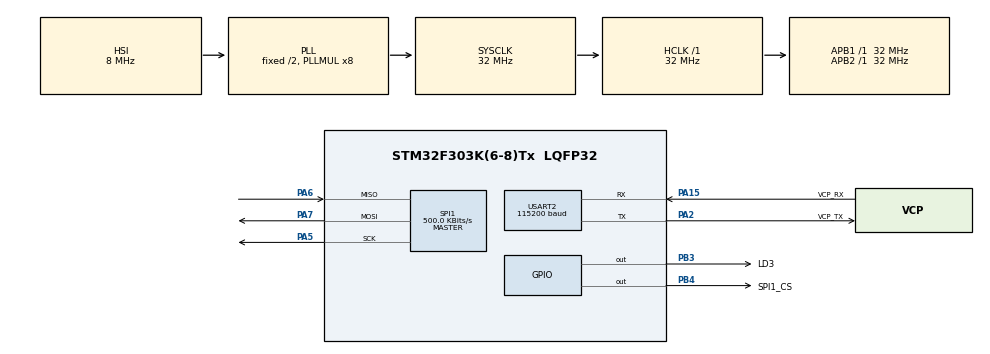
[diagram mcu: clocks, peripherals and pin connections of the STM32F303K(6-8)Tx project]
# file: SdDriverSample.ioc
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Mcu.Family=STM32F3
Mcu.Name=STM32F303K(6-8)Tx
Mcu.Package=LQFP32
NVIC.PriorityGroup=NVIC_PRIORITYGROUP_4
PA13.GPIO_Label=SWDIO
PA13.Mode=Serial_Wire
PA13.Signal=SYS_JTMS-SWDIO
PA14.GPIO_Label=SWCLK
PA14.Mode=Serial_Wire
PA14.Signal=SYS_JTCK-SWCLK
PA15.GPIO_Label=VCP_RX
PA15.Mode=Asynchronous
PA15.Signal=USART2_RX
PA2.GPIO_Label=VCP_TX
PA2.Mode=Asynchronous
PA2.Signal=USART2_TX
PA5.Mode=Full_Duplex_Master
PA5.Signal=SPI1_SCK
PA6.Mode=Full_Duplex_Master
PA6.Signal=SPI1_MISO
PA7.Mode=Full_Duplex_Master
PA7.Signal=SPI1_MOSI
PB3.GPIO_Label=LD3
PB3.PinState=GPIO_PIN_RESET
PB3.Signal=GPIO_Output
PB4.GPIO_Label=SPI1_CS
PB4.PinState=GPIO_PIN_SET
PB4.Signal=GPIO_Output
PF0\ /\ OSC_IN.GPIO_Label=MCO
PF0\ /\ OSC_IN.Mode=HSE-External-Clock-Source
PF0\ /\ OSC_IN.Signal=RCC_OSC_IN
ProjectManager.HeapSize=0x200
ProjectManager.StackSize=0x400
ProjectManager.TargetToolchain=STM32CubeIDE
RCC.AHBFreq_Value=32000000
RCC.APB1Freq_Value=32000000
RCC.APB1TimFreq_Value=32000000
RCC.APB2Freq_Value=32000000
RCC.APB2TimFreq_Value=32000000
RCC.CortexFreq_Value=32000000
RCC.HCLKFreq_Value=32000000
RCC.HSE_VALUE=8000000
RCC.HSI_VALUE=8000000
RCC.PLLMUL=RCC_PLL_MUL8
RCC.SYSCLKFreq_VALUE=32000000
RCC.SYSCLKSourceVirtual=RCC_SYSCLKSOURCE_PLLCLK
SPI1.BaudRatePrescaler=SPI_BAUDRATEPRESCALER_64
SPI1.CRCCalculation=SPI_CRCCALCULATION_DISABLE
SPI1.CalculateBaudRate=500.0 KBits/s
SPI1.DataSize=SPI_DATASIZE_8BIT
SPI1.Direction=SPI_DIRECTION_2LINES
SPI1.Mode=SPI_MODE_MASTER
SPI1.VirtualType=VM_MASTER
USART2.BaudRate=115200
USART2.VirtualMode-Asynchronous=VM_ASYNC
board=NUCLEO-F303K8

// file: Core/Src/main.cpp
/* USER CODE BEGIN Header */
/**
  ******************************************************************************
  * @file           : main.c
  * @brief          : Main program body
  ******************************************************************************
  * @attention
  *
  * <h2><center>&copy; Copyright (c) 2021 STMicroelectronics.
  * All rights reserved.</center></h2>
  *
  * This software component is licensed by ST under BSD 3-Clause license,
  * the "License"; You may not use this file except in compliance with the
  * License. You may obtain a copy of the License at:
  *                        opensource.org/licenses/BSD-3-Clause
  *
  ******************************************************************************
  */
/* USER CODE END Header */
#include "main.h"

/* USER CODE BEGIN Includes */
#include <stdio.h>
#include <stdint.h>
#include <string.h>

#include "SdDriver.hpp"
/* USER CODE END Includes */

SPI_HandleTypeDef hspi1;

UART_HandleTypeDef huart2;

void SystemClock_Config(void);
static void MX_GPIO_Init(void);
static void MX_USART2_UART_Init(void);
static void MX_SPI1_Init(void);

/* USER CODE BEGIN 0 */
#ifdef __GNUC__
#define PUTCHAR_PROTOTYPE int __io_putchar(int ch)
#else
#define PUTCHAR_PROTOTYPE int fputc(int ch, FILE *f)
#endif /* __GNUC__ */
extern "C" PUTCHAR_PROTOTYPE
{
  /* Place your implementation of fputc here */
  /* e.g. write a character to the USART1 and Loop until the end of transmission */
  HAL_UART_Transmit(&huart2, (uint8_t *)&ch, 1, 0xFFFF);

  return ch;
}

// 同期型シリアル行単位読み込み (1 行読み込むまで戻らない)
// 末尾の改行は除去済み
extern "C" int ConsoleReadLine(uint8_t *pOutBuffer)
{
  static uint8_t buffer[80];
  int length = 0;

  while (1) {
    uint8_t ch;
    HAL_StatusTypeDef status;
    status = HAL_UART_Receive(&huart2, &ch, 1, 0xFFFF);
    if (status == HAL_TIMEOUT) {
      continue;
    }
    if (ch == '\n') {
      buffer[length] = '\0';
      break;
    }

    buffer[length] = ch;
    length++;
  }
  memcpy(pOutBuffer, buffer, length);
  return length;
}
/* USER CODE END 0 */

int main(void)
{

  /* MCU Configuration--------------------------------------------------------*/

  /* Reset of all peripherals, Initializes the Flash interface and the Systick. */
  HAL_Init();

  /* Configure the system clock */
  SystemClock_Config();

  /* Initialize all configured peripherals */
  MX_GPIO_Init();
  MX_USART2_UART_Init();
  MX_SPI1_Init();
  /* USER CODE BEGIN 2 */
  printf("Hello World!\n");
  HAL_GPIO_WritePin(LD3_GPIO_Port, LD3_Pin, GPIO_PIN_SET);

  SdDriver sdDriver(&hspi1);
  sdDriver.Initialize();

  printf("[SD] Initialize: OK\n");

  /* USER CODE END 2 */

  /* Infinite loop */
  /* USER CODE BEGIN WHILE */
  sdDriver.MainLoop();

  // No reach

  //HAL_GPIO_TogglePin(LD3_GPIO_Port, LD3_Pin);
  //HAL_Delay(1000);

  while (1)
  {
    /* USER CODE END WHILE */

  }
}

void SystemClock_Config(void)
{
  RCC_OscInitTypeDef RCC_OscInitStruct = {0};
  RCC_ClkInitTypeDef RCC_ClkInitStruct = {0};

  /** Initializes the RCC Oscillators according to the specified parameters
  * in the RCC_OscInitTypeDef structure.
  */
  RCC_OscInitStruct.OscillatorType = RCC_OSCILLATORTYPE_HSI;
  RCC_OscInitStruct.HSIState = RCC_HSI_ON;
  RCC_OscInitStruct.HSICalibrationValue = RCC_HSICALIBRATION_DEFAULT;
  RCC_OscInitStruct.PLL.PLLState = RCC_PLL_ON;
  RCC_OscInitStruct.PLL.PLLSource = RCC_PLLSOURCE_HSI;
  RCC_OscInitStruct.PLL.PLLMUL = RCC_PLL_MUL8;
  if (HAL_RCC_OscConfig(&RCC_OscInitStruct) != HAL_OK)
  {
    Error_Handler();
  }
  /** Initializes the CPU, AHB and APB buses clocks
  */
  RCC_ClkInitStruct.ClockType = RCC_CLOCKTYPE_HCLK|RCC_CLOCKTYPE_SYSCLK
                              |RCC_CLOCKTYPE_PCLK1|RCC_CLOCKTYPE_PCLK2;
  RCC_ClkInitStruct.SYSCLKSource = RCC_SYSCLKSOURCE_PLLCLK;
  RCC_ClkInitStruct.AHBCLKDivider = RCC_SYSCLK_DIV1;
  RCC_ClkInitStruct.APB1CLKDivider = RCC_HCLK_DIV1;
  RCC_ClkInitStruct.APB2CLKDivider = RCC_HCLK_DIV1;

  if (HAL_RCC_ClockConfig(&RCC_ClkInitStruct, FLASH_LATENCY_1) != HAL_OK)
  {
    Error_Handler();
  }
}

static void MX_SPI1_Init(void)
{

  /* SPI1 parameter configuration*/
  hspi1.Instance = SPI1;
  hspi1.Init.Mode = SPI_MODE_MASTER;
  hspi1.Init.Direction = SPI_DIRECTION_2LINES;
  hspi1.Init.DataSize = SPI_DATASIZE_8BIT;
  hspi1.Init.CLKPolarity = SPI_POLARITY_LOW;
  hspi1.Init.CLKPhase = SPI_PHASE_1EDGE;
  hspi1.Init.NSS = SPI_NSS_SOFT;
  hspi1.Init.BaudRatePrescaler = SPI_BAUDRATEPRESCALER_64;
  hspi1.Init.FirstBit = SPI_FIRSTBIT_MSB;
  hspi1.Init.TIMode = SPI_TIMODE_DISABLE;
  hspi1.Init.CRCCalculation = SPI_CRCCALCULATION_DISABLE;
  hspi1.Init.CRCPolynomial = 7;
  hspi1.Init.CRCLength = SPI_CRC_LENGTH_DATASIZE;
  hspi1.Init.NSSPMode = SPI_NSS_PULSE_ENABLE;
  if (HAL_SPI_Init(&hspi1) != HAL_OK)
  {
    Error_Handler();
  }

}

static void MX_USART2_UART_Init(void)
{

  huart2.Instance = USART2;
  huart2.Init.BaudRate = 115200;
  huart2.Init.WordLength = UART_WORDLENGTH_8B;
  huart2.Init.StopBits = UART_STOPBITS_1;
  huart2.Init.Parity = UART_PARITY_NONE;
  huart2.Init.Mode = UART_MODE_TX_RX;
  huart2.Init.HwFlowCtl = UART_HWCONTROL_NONE;
  huart2.Init.OverSampling = UART_OVERSAMPLING_16;
  huart2.Init.OneBitSampling = UART_ONE_BIT_SAMPLE_DISABLE;
  huart2.AdvancedInit.AdvFeatureInit = UART_ADVFEATURE_NO_INIT;
  if (HAL_UART_Init(&huart2) != HAL_OK)
  {
    Error_Handler();
  }

}

static void MX_GPIO_Init(void)
{
  GPIO_InitTypeDef GPIO_InitStruct = {0};

  /* GPIO Ports Clock Enable */
  __HAL_RCC_GPIOF_CLK_ENABLE();
  __HAL_RCC_GPIOA_CLK_ENABLE();
  __HAL_RCC_GPIOB_CLK_ENABLE();

  /*Configure GPIO pin Output Level */
  HAL_GPIO_WritePin(LD3_GPIO_Port, LD3_Pin, GPIO_PIN_RESET);

  /*Configure GPIO pin Output Level */
  HAL_GPIO_WritePin(SPI1_CS_GPIO_Port, SPI1_CS_Pin, GPIO_PIN_SET);

  /*Configure GPIO pins : LD3_Pin SPI1_CS_Pin */
  GPIO_InitStruct.Pin = LD3_Pin|SPI1_CS_Pin;
  GPIO_InitStruct.Mode = GPIO_MODE_OUTPUT_PP;
  GPIO_InitStruct.Pull = GPIO_NOPULL;
  GPIO_InitStruct.Speed = GPIO_SPEED_FREQ_LOW;
  HAL_GPIO_Init(GPIOB, &GPIO_InitStruct);

}

void Error_Handler(void)
{
  __disable_irq();
  while (1)
  {
  }
}

/************************ (C) COPYRIGHT STMicroelectronics *****END OF FILE****/
